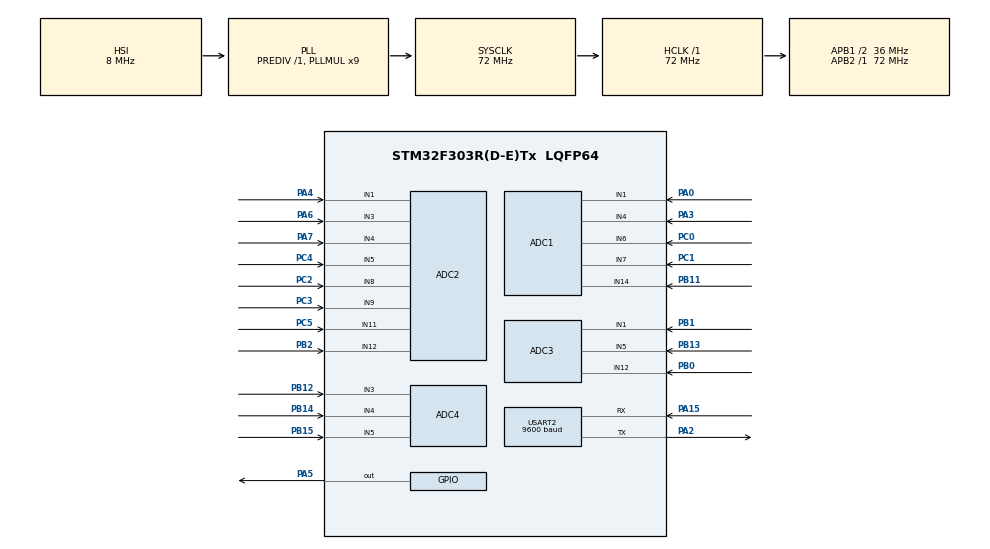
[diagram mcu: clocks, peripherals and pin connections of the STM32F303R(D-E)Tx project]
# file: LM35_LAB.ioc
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ADC1.Channel-14\#ChannelRegularConversion=ADC_CHANNEL_1
ADC1.Channel-15\#ChannelRegularConversion=ADC_CHANNEL_4
ADC1.Channel-16\#ChannelRegularConversion=ADC_CHANNEL_6
ADC1.Channel-17\#ChannelRegularConversion=ADC_CHANNEL_7
ADC1.Channel-18\#ChannelRegularConversion=ADC_CHANNEL_14
ADC1.DiscontinuousConvMode=ENABLE
ADC1.NbrOfConversion=5
ADC1.NbrOfConversionFlag=1
ADC1.Offset-14\#ChannelRegularConversion=0
ADC1.Offset-15\#ChannelRegularConversion=0
ADC1.Offset-16\#ChannelRegularConversion=0
ADC1.Offset-17\#ChannelRegularConversion=0
ADC1.Offset-18\#ChannelRegularConversion=0
ADC1.OffsetNumber-14\#ChannelRegularConversion=ADC_OFFSET_NONE
ADC1.OffsetNumber-15\#ChannelRegularConversion=ADC_OFFSET_NONE
ADC1.OffsetNumber-16\#ChannelRegularConversion=ADC_OFFSET_NONE
ADC1.OffsetNumber-17\#ChannelRegularConversion=ADC_OFFSET_NONE
ADC1.OffsetNumber-18\#ChannelRegularConversion=ADC_OFFSET_NONE
ADC1.Overrun=ADC_OVR_DATA_PRESERVED
ADC1.Rank-14\#ChannelRegularConversion=1
ADC1.Rank-15\#ChannelRegularConversion=2
ADC1.Rank-16\#ChannelRegularConversion=3
ADC1.Rank-17\#ChannelRegularConversion=4
ADC1.Rank-18\#ChannelRegularConversion=5
ADC1.SamplingTime-14\#ChannelRegularConversion=ADC_SAMPLETIME_601CYCLES_5
ADC1.SamplingTime-15\#ChannelRegularConversion=ADC_SAMPLETIME_601CYCLES_5
ADC1.SamplingTime-16\#ChannelRegularConversion=ADC_SAMPLETIME_601CYCLES_5
ADC1.SamplingTime-17\#ChannelRegularConversion=ADC_SAMPLETIME_601CYCLES_5
ADC1.SamplingTime-18\#ChannelRegularConversion=ADC_SAMPLETIME_601CYCLES_5
ADC1.master=1
ADC2.Channel-0\#ChannelRegularConversion=ADC_CHANNEL_3
ADC2.Channel-1\#ChannelRegularConversion=ADC_CHANNEL_4
ADC2.Channel-2\#ChannelRegularConversion=ADC_CHANNEL_5
ADC2.Channel-3\#ChannelRegularConversion=ADC_CHANNEL_8
ADC2.Channel-4\#ChannelRegularConversion=ADC_CHANNEL_9
ADC2.Channel-5\#ChannelRegularConversion=ADC_CHANNEL_11
ADC2.Channel-7\#ChannelRegularConversion=ADC_CHANNEL_12
ADC2.Channel-8\#ChannelRegularConversion=ADC_CHANNEL_1
ADC2.ClockPrescaler=ADC_CLOCK_ASYNC_DIV1
ADC2.ContinuousConvMode=DISABLE
ADC2.DiscontinuousConvMode=ENABLE
ADC2.NbrOfConversion=8
ADC2.NbrOfConversionFlag=1
ADC2.Offset-0\#ChannelRegularConversion=0
ADC2.Offset-1\#ChannelRegularConversion=0
ADC2.Offset-2\#ChannelRegularConversion=0
ADC2.Offset-3\#ChannelRegularConversion=0
ADC2.Offset-4\#ChannelRegularConversion=0
ADC2.Offset-5\#ChannelRegularConversion=0
ADC2.Offset-7\#ChannelRegularConversion=0
ADC2.Offset-8\#ChannelRegularConversion=0
ADC2.OffsetNumber-0\#ChannelRegularConversion=ADC_OFFSET_NONE
ADC2.OffsetNumber-1\#ChannelRegularConversion=ADC_OFFSET_NONE
ADC2.OffsetNumber-2\#ChannelRegularConversion=ADC_OFFSET_NONE
ADC2.OffsetNumber-3\#ChannelRegularConversion=ADC_OFFSET_NONE
ADC2.OffsetNumber-4\#ChannelRegularConversion=ADC_OFFSET_NONE
ADC2.OffsetNumber-5\#ChannelRegularConversion=ADC_OFFSET_NONE
ADC2.OffsetNumber-7\#ChannelRegularConversion=ADC_OFFSET_NONE
ADC2.OffsetNumber-8\#ChannelRegularConversion=ADC_OFFSET_NONE
ADC2.Overrun=ADC_OVR_DATA_PRESERVED
ADC2.Rank-0\#ChannelRegularConversion=1
ADC2.Rank-1\#ChannelRegularConversion=2
ADC2.Rank-2\#ChannelRegularConversion=3
ADC2.Rank-3\#ChannelRegularConversion=4
ADC2.Rank-4\#ChannelRegularConversion=5
ADC2.Rank-5\#ChannelRegularConversion=6
ADC2.Rank-7\#ChannelRegularConversion=7
ADC2.Rank-8\#ChannelRegularConversion=8
ADC2.SamplingTime-0\#ChannelRegularConversion=ADC_SAMPLETIME_601CYCLES_5
ADC2.SamplingTime-1\#ChannelRegularConversion=ADC_SAMPLETIME_601CYCLES_5
ADC2.SamplingTime-2\#ChannelRegularConversion=ADC_SAMPLETIME_601CYCLES_5
ADC2.SamplingTime-3\#ChannelRegularConversion=ADC_SAMPLETIME_601CYCLES_5
ADC2.SamplingTime-4\#ChannelRegularConversion=ADC_SAMPLETIME_601CYCLES_5
ADC2.SamplingTime-5\#ChannelRegularConversion=ADC_SAMPLETIME_601CYCLES_5
ADC2.SamplingTime-7\#ChannelRegularConversion=ADC_SAMPLETIME_601CYCLES_5
ADC2.SamplingTime-8\#ChannelRegularConversion=ADC_SAMPLETIME_601CYCLES_5
ADC2.SamplingTimeOPAMP-8\#ChannelRegularConversion=ADC_SAMPLETIME_61CYCLES_5
ADC3.Channel-0\#ChannelRegularConversion=ADC_CHANNEL_1
ADC3.Channel-1\#ChannelRegularConversion=ADC_CHANNEL_5
ADC3.Channel-2\#ChannelRegularConversion=ADC_CHANNEL_12
ADC3.ContinuousConvMode=DISABLE
ADC3.DiscontinuousConvMode=ENABLE
ADC3.NbrOfConversion=3
ADC3.NbrOfConversionFlag=1
ADC3.Offset-0\#ChannelRegularConversion=0
ADC3.Offset-1\#ChannelRegularConversion=0
ADC3.Offset-2\#ChannelRegularConversion=0
ADC3.OffsetNumber-0\#ChannelRegularConversion=ADC_OFFSET_NONE
ADC3.OffsetNumber-1\#ChannelRegularConversion=ADC_OFFSET_NONE
ADC3.OffsetNumber-2\#ChannelRegularConversion=ADC_OFFSET_NONE
ADC3.Overrun=ADC_OVR_DATA_PRESERVED
ADC3.Rank-0\#ChannelRegularConversion=1
ADC3.Rank-1\#ChannelRegularConversion=2
ADC3.Rank-2\#ChannelRegularConversion=3
ADC3.SamplingTime-0\#ChannelRegularConversion=ADC_SAMPLETIME_601CYCLES_5
ADC3.SamplingTime-1\#ChannelRegularConversion=ADC_SAMPLETIME_601CYCLES_5
ADC3.SamplingTime-2\#ChannelRegularConversion=ADC_SAMPLETIME_601CYCLES_5
ADC3.SamplingTimeOPAMP-1\#ChannelRegularConversion=ADC_SAMPLETIME_61CYCLES_5
ADC3.SamplingTimeOPAMP-2\#ChannelRegularConversion=ADC_SAMPLETIME_61CYCLES_5
ADC3.master=1
ADC4.Channel-0\#ChannelRegularConversion=ADC_CHANNEL_3
ADC4.Channel-1\#ChannelRegularConversion=ADC_CHANNEL_4
ADC4.Channel-2\#ChannelRegularConversion=ADC_CHANNEL_5
ADC4.DiscontinuousConvMode=ENABLE
ADC4.NbrOfConversion=3
ADC4.NbrOfConversionFlag=1
ADC4.Offset-0\#ChannelRegularConversion=0
ADC4.Offset-1\#ChannelRegularConversion=0
ADC4.Offset-2\#ChannelRegularConversion=0
ADC4.OffsetNumber-0\#ChannelRegularConversion=ADC_OFFSET_NONE
ADC4.OffsetNumber-1\#ChannelRegularConversion=ADC_OFFSET_NONE
ADC4.OffsetNumber-2\#ChannelRegularConversion=ADC_OFFSET_NONE
ADC4.Overrun=ADC_OVR_DATA_PRESERVED
ADC4.Rank-0\#ChannelRegularConversion=1
ADC4.Rank-1\#ChannelRegularConversion=2
ADC4.Rank-2\#ChannelRegularConversion=3
ADC4.SamplingTime-0\#ChannelRegularConversion=ADC_SAMPLETIME_601CYCLES_5
ADC4.SamplingTime-1\#ChannelRegularConversion=ADC_SAMPLETIME_601CYCLES_5
ADC4.SamplingTime-2\#ChannelRegularConversion=ADC_SAMPLETIME_601CYCLES_5
ADC4.SamplingTimeOPAMP-1\#ChannelRegularConversion=ADC_SAMPLETIME_61CYCLES_5
ADC4.SamplingTimeOPAMP-2\#ChannelRegularConversion=ADC_SAMPLETIME_61CYCLES_5
Mcu.Family=STM32F3
Mcu.Name=STM32F303R(D-E)Tx
Mcu.Package=LQFP64
NVIC.PriorityGroup=NVIC_PRIORITYGROUP_4
PA0.Mode=IN1-Single-Ended
PA0.Signal=ADC1_IN1
PA13.Mode=Trace_Asynchronous_SW
PA13.Signal=SYS_JTMS-SWDIO
PA14.Mode=Trace_Asynchronous_SW
PA14.Signal=SYS_JTCK-SWCLK
PA15.Mode=Asynchronous
PA15.Signal=USART2_RX
PA2.Mode=Asynchronous
PA2.Signal=USART2_TX
PA3.Mode=IN4-Single-Ended
PA3.Signal=ADC1_IN4
PA4.Mode=IN1-Single-Ended
PA4.Signal=ADC2_IN1
PA5.Signal=GPIO_Output
PA6.Mode=IN3-Single-Ended
PA6.Signal=ADC2_IN3
PA7.Mode=IN4-Single-Ended
PA7.Signal=ADC2_IN4
PB0.Mode=IN12-Single-Ended
PB0.Signal=ADC3_IN12
PB1.Mode=IN1-Single-Ended
PB1.Signal=ADC3_IN1
PB11.Mode=IN14-Single-Ended
PB11.Signal=ADC1_IN14
PB12.Mode=IN3-Single-Ended
PB12.Signal=ADC4_IN3
PB13.Mode=IN5-Single-Ended
PB13.Signal=ADC3_IN5
PB14.Mode=IN4-Single-Ended
PB14.Signal=ADC4_IN4
PB15.Mode=IN5-Single-Ended
PB15.Signal=ADC4_IN5
PB2.Mode=IN12-Single-Ended
PB2.Signal=ADC2_IN12
PB3.Mode=Trace_Asynchronous_SW
PB3.Signal=SYS_JTDO-TRACESWO
PC0.Signal=ADCx_IN6
PC1.Signal=ADCx_IN7
PC2.Signal=ADCx_IN8
PC3.Signal=ADCx_IN9
PC4.Mode=IN5-Single-Ended
PC4.Signal=ADC2_IN5
PC5.Mode=IN11-Single-Ended
PC5.Signal=ADC2_IN11
PF0-OSC_IN.Mode=HSE-External-Oscillator
PF0-OSC_IN.Signal=RCC_OSC_IN
PF1-OSC_OUT.Mode=HSE-External-Oscillator
PF1-OSC_OUT.Signal=RCC_OSC_OUT
ProjectManager.HeapSize=0x200
ProjectManager.StackSize=0x400
ProjectManager.TargetToolchain=STM32CubeIDE
RCC.AHBFreq_Value=72000000
RCC.APB1CLKDivider=RCC_HCLK_DIV2
RCC.APB1Freq_Value=36000000
RCC.APB1TimFreq_Value=72000000
RCC.APB2Freq_Value=72000000
RCC.APB2TimFreq_Value=72000000
RCC.CortexFreq_Value=72000000
RCC.HCLKFreq_Value=72000000
RCC.HSE_VALUE=8000000
RCC.HSI_VALUE=8000000
RCC.LSE_VALUE=32768
RCC.PLLMUL=RCC_PLL_MUL9
RCC.SYSCLKFreq_VALUE=72000000
RCC.SYSCLKSourceVirtual=RCC_SYSCLKSOURCE_PLLCLK
RCC.USBFreq_Value=72000000
SH.ADCx_IN6.0=ADC1_IN6,IN6-Single-Ended
SH.ADCx_IN7.0=ADC1_IN7,IN7-Single-Ended
SH.ADCx_IN8.0=ADC2_IN8,IN8-Single-Ended
SH.ADCx_IN9.0=ADC2_IN9,IN9-Single-Ended
USART2.BaudRate=9600
USART2.VirtualMode-Asynchronous=VM_ASYNC
board=custom

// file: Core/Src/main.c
/* USER CODE BEGIN Header */
/**
  ******************************************************************************
  * @file           : main.c
  * @brief          : Main program body
  ******************************************************************************
  * @attention
  *
  * Copyright (c) 2025 STMicroelectronics.
  * All rights reserved.
  *
  * This software is licensed under terms that can be found in the LICENSE file
  * in the root directory of this software component.
  * If no LICENSE file comes with this software, it is provided AS-IS.
  *
  * The ADC interfaces are connected to pins on the STM32 board using different
  * wire colors as follows:
  *
  * ADC 1 ==> Red (5 wires)
  * ADC 2 ==> White (8 wires)
  * ADC 3 ==> Yellow (3 wires)
  * ADC 4 ==> Green (3 wires)
  *
  ******************************************************************************
  */
/* USER CODE END Header */
#include "main.h"

/* USER CODE BEGIN Includes */
#include <stdio.h>
/* USER CODE END Includes */

ADC_HandleTypeDef hadc1;
ADC_HandleTypeDef hadc2;
ADC_HandleTypeDef hadc3;
ADC_HandleTypeDef hadc4;

UART_HandleTypeDef huart2;

/* USER CODE BEGIN PV */

float temp_1;
float temp_2;
float temp_3;
float temp_4;
float temp_5;
float temp_6;
float temp_7;
float temp_8;
float temp_9;
float temp_10;
float temp_11;
float temp_12;
float temp_13;
float temp_14;
float temp_15;
float temp_16;
float temp_17;
float temp_18;
float temp_19;
float temp_20;
float humidity;
float tension;
float temp_RAYA;
float mean_1;
float mean_2;
float mean_3;

float mean;

/* USER CODE END PV */

void SystemClock_Config(void);
static void MX_GPIO_Init(void);
static void MX_ADC1_Init(void);
static void MX_USART2_UART_Init(void);
static void MX_ADC2_Init(void);
static void MX_ADC3_Init(void);
static void MX_ADC4_Init(void);
/* USER CODE BEGIN PFP */

#define PRINTF2UART2 int __io_putchar(int ch)
/* USER CODE END PFP */

int main(void)
{

  /* USER CODE BEGIN 1 */
	uint16_t ADC1_VAL[4];
	uint16_t ADC2_VAL[7];
	uint16_t ADC3_VAL[2];
	uint16_t ADC4_VAL[2];
  /* USER CODE END 1 */

  /* MCU Configuration--------------------------------------------------------*/

  /* Reset of all peripherals, Initializes the Flash interface and the Systick. */
  HAL_Init();

  /* Configure the system clock */
  SystemClock_Config();

  /* Initialize all configured peripherals */
  MX_GPIO_Init();
  MX_ADC1_Init();
  MX_USART2_UART_Init();
  MX_ADC2_Init();
  MX_ADC3_Init();
  MX_ADC4_Init();
  /* USER CODE BEGIN 2 */
  HAL_ADC_Start_IT(&hadc1);
  HAL_ADC_Start_IT(&hadc2);
  HAL_ADC_Start_IT(&hadc3);
  HAL_ADC_Start_IT(&hadc4);

  /* USER CODE END 2 */

  /* Infinite loop */
  /* USER CODE BEGIN WHILE */
  while (1)
  {

	  HAL_UART_Transmit(&huart2, (uint8_t *)"START Reading Temperature data >> \r\n", 12, HAL_MAX_DELAY);
	  HAL_Delay(1000);  // 1-second delay

	  //*******************  ADC 1 ******************************************
	  HAL_ADC_Start_IT(&hadc1);
	  HAL_ADC_PollForConversion(&hadc1, 100);
	  ADC1_VAL[0] = HAL_ADC_GetValue(&hadc1);
	  temp_1 = ADC1_VAL[0] * 0.08;
	  printf("Temperature 1 = %.2f°C\n\r", temp_1);

	  HAL_ADC_Start_IT(&hadc1);
	  HAL_ADC_PollForConversion(&hadc1, 100);
	  ADC1_VAL[1] = HAL_ADC_GetValue(&hadc1);
	  temp_2 = ADC1_VAL[1] * 0.08;
	  printf("Temperature 2 = %.2f°C\n\r", temp_2);

	  HAL_ADC_Start_IT(&hadc1);
	  HAL_ADC_PollForConversion(&hadc1, 100);
	  ADC1_VAL[2] = HAL_ADC_GetValue(&hadc1);
	  temp_3 = ADC1_VAL[2] * 0.08;
	  printf("Temperature 3 = %.2f°C\n\r", temp_3);

	  HAL_ADC_Start_IT(&hadc1);
	  HAL_ADC_PollForConversion(&hadc1, 100);
	  ADC1_VAL[3] = HAL_ADC_GetValue(&hadc1);
	  temp_4 = ADC1_VAL[3] * 0.08;
	  printf("Temperature 4 = %.2f°C\n\r", temp_4);

	  HAL_ADC_Start_IT(&hadc1);
	  HAL_ADC_PollForConversion(&hadc1, 100);
	  ADC1_VAL[4] = HAL_ADC_GetValue(&hadc1);
	  temp_5 = ADC1_VAL[4] * 0.08;
	  printf("Temperature 5 = %.2f°C\n\r", temp_5);

	  //*******************  ADC 2 ******************************************
	  HAL_ADC_Start_IT(&hadc2);
	  HAL_ADC_PollForConversion(&hadc2, 100);
	  ADC2_VAL[0] = HAL_ADC_GetValue(&hadc2);
	  temp_8 = ADC2_VAL[0] * 0.08;
	  printf("Temperature 8 = %.2f°C\n\r", temp_8);

	  HAL_ADC_Start_IT(&hadc2);
	  HAL_ADC_PollForConversion(&hadc2, 100);
	  ADC2_VAL[1] = HAL_ADC_GetValue(&hadc2);
	  temp_9 = ADC2_VAL[1] * 0.08;
	  printf("Temperature 9 = %.2f°C\n\r", temp_9);

	  HAL_ADC_Start_IT(&hadc2);
	  HAL_ADC_PollForConversion(&hadc2, 100);
	  ADC2_VAL[2] = HAL_ADC_GetValue(&hadc2);
	  temp_10 = ADC2_VAL[2] * 0.08;
	  printf("Temperature 10 = %.2f°C\n\r", temp_10);

	  HAL_ADC_Start_IT(&hadc2);
	  HAL_ADC_PollForConversion(&hadc2, 100);
	  ADC2_VAL[3] = HAL_ADC_GetValue(&hadc2);
	  temp_11 = ADC2_VAL[3] * 0.08;
	  printf("Temperature 11 = %.2f°C\n\r", temp_11);

	  HAL_ADC_Start_IT(&hadc2);
	  HAL_ADC_PollForConversion(&hadc2, 100);
	  ADC2_VAL[4] = HAL_ADC_GetValue(&hadc2);
	  temp_12 = ADC2_VAL[4] * 0.08;
	  printf("Temperature 12 = %.2f°C\n\r", temp_12);

	  HAL_ADC_Start_IT(&hadc2);
	  HAL_ADC_PollForConversion(&hadc2, 100);
	  ADC2_VAL[5] = HAL_ADC_GetValue(&hadc2);
	  temp_13 = ADC2_VAL[5] * 0.08;
	  printf("Temperature 13 = %.2f°C\n\r", temp_13);
/*
 * This is commented because the humidity sensor was damaged
 *
	  HAL_ADC_Start_IT(&hadc2);
	  HAL_ADC_PollForConversion(&hadc2, 100);
	  ADC2_VAL[6] = HAL_ADC_GetValue(&hadc2);
	  tension = ADC2_VAL[6] * (3.3/4096);
	  humidity = (-1)*(tension - 0.830)/0.030;
	  printf("Humidity = %.2f°C\n\r", humidity);
*/

	  HAL_ADC_Start_IT(&hadc2);
	  HAL_ADC_PollForConversion(&hadc2, 100);
	  ADC2_VAL[7] = HAL_ADC_GetValue(&hadc2);
	  temp_14 = ADC2_VAL[7] * 0.08;
	  printf("Temperature 14 = %.2f°C\n\r", temp_14);

	  HAL_ADC_Start_IT(&hadc2);
	  HAL_ADC_PollForConversion(&hadc2, 100);
	  ADC2_VAL[6]  = HAL_ADC_GetValue(&hadc2);
	  temp_RAYA = ADC2_VAL[6]  * 0.08;
	  printf("Temperature 13 = %.2f°C\n\r", temp_RAYA);

	  //*******************  ADC 3 ******************************************
	  HAL_ADC_Start_IT(&hadc3);
	  HAL_ADC_PollForConversion(&hadc3, 100);
	  ADC3_VAL[0] = HAL_ADC_GetValue(&hadc3);
	  temp_15 = ADC3_VAL[0] * 0.08;
	  printf("Temperature 15 = %.2f°C\n\r", temp_15);

	  HAL_ADC_Start_IT(&hadc3);
	  HAL_ADC_PollForConversion(&hadc3, 100);
	  ADC3_VAL[1] = HAL_ADC_GetValue(&hadc3);
	  temp_16 = ADC3_VAL[1] * 0.08;
	  printf("Temperature 16 = %.2f°C\n\r", temp_16);

	  HAL_ADC_Start_IT(&hadc3);
	  HAL_ADC_PollForConversion(&hadc3, 100);
	  ADC3_VAL[2] = HAL_ADC_GetValue(&hadc3);
	  temp_17 = ADC3_VAL[2] * 0.08;
	  printf("Temperature 17 = %.2f°C\n\r", temp_17);

	  //*******************  ADC 4 ******************************************
	  HAL_ADC_Start_IT(&hadc4);
	  HAL_ADC_PollForConversion(&hadc4, 100);
	  ADC4_VAL[0] = HAL_ADC_GetValue(&hadc4);
	  temp_18 = ADC4_VAL[0] * 0.08;
	  printf("Temperature 18 = %.2f°C\n\r", temp_18);

	  HAL_ADC_Start_IT(&hadc4);
	  HAL_ADC_PollForConversion(&hadc4, 100);
	  ADC4_VAL[1] = HAL_ADC_GetValue(&hadc4);
	  temp_19 = ADC4_VAL[1] * 0.08;
	  printf("Temperature 19 = %.2f°C\n\r", temp_19);

	  HAL_ADC_Start_IT(&hadc4);
	  HAL_ADC_PollForConversion(&hadc4, 100);
	  ADC4_VAL[2] = HAL_ADC_GetValue(&hadc4);
	  temp_20 = ADC4_VAL[2] * 0.08;
	  printf("Temperature 20 = %.2f°C\n\r", temp_20);

	  //*******************  Calculating the mean ******************************************
	  mean = (temp_2+temp_3+temp_4+temp_5+temp_9+temp_12+temp_13+temp_16+temp_17+temp_19+temp_20+temp_RAYA)/12.0;

	  mean_1 = (temp_2+temp_3+temp_4+temp_5+temp_17)/4.0;

	  mean_2 = (temp_9+temp_19+temp_20)/4.0;

	  mean_3 = (temp_12+temp_13+temp_16+temp_RAYA)/5.0;

    /* USER CODE END WHILE */

  }
}

void SystemClock_Config(void)
{
  RCC_OscInitTypeDef RCC_OscInitStruct = {0};
  RCC_ClkInitTypeDef RCC_ClkInitStruct = {0};
  RCC_PeriphCLKInitTypeDef PeriphClkInit = {0};

  /** Initializes the RCC Oscillators according to the specified parameters
  * in the RCC_OscInitTypeDef structure.
  */
  RCC_OscInitStruct.OscillatorType = RCC_OSCILLATORTYPE_HSI;
  RCC_OscInitStruct.HSIState = RCC_HSI_ON;
  RCC_OscInitStruct.HSICalibrationValue = RCC_HSICALIBRATION_DEFAULT;
  RCC_OscInitStruct.PLL.PLLState = RCC_PLL_ON;
  RCC_OscInitStruct.PLL.PLLSource = RCC_PLLSOURCE_HSI;
  RCC_OscInitStruct.PLL.PLLMUL = RCC_PLL_MUL9;
  RCC_OscInitStruct.PLL.PREDIV = RCC_PREDIV_DIV1;
  if (HAL_RCC_OscConfig(&RCC_OscInitStruct) != HAL_OK)
  {
    Error_Handler();
  }

  /** Initializes the CPU, AHB and APB buses clocks
  */
  RCC_ClkInitStruct.ClockType = RCC_CLOCKTYPE_HCLK|RCC_CLOCKTYPE_SYSCLK
                              |RCC_CLOCKTYPE_PCLK1|RCC_CLOCKTYPE_PCLK2;
  RCC_ClkInitStruct.SYSCLKSource = RCC_SYSCLKSOURCE_PLLCLK;
  RCC_ClkInitStruct.AHBCLKDivider = RCC_SYSCLK_DIV1;
  RCC_ClkInitStruct.APB1CLKDivider = RCC_HCLK_DIV2;
  RCC_ClkInitStruct.APB2CLKDivider = RCC_HCLK_DIV1;

  if (HAL_RCC_ClockConfig(&RCC_ClkInitStruct, FLASH_LATENCY_2) != HAL_OK)
  {
    Error_Handler();
  }
  PeriphClkInit.PeriphClockSelection = RCC_PERIPHCLK_USART2|RCC_PERIPHCLK_ADC12
                              |RCC_PERIPHCLK_ADC34;
  PeriphClkInit.Usart2ClockSelection = RCC_USART2CLKSOURCE_PCLK1;
  PeriphClkInit.Adc12ClockSelection = RCC_ADC12PLLCLK_DIV1;
  PeriphClkInit.Adc34ClockSelection = RCC_ADC34PLLCLK_DIV1;
  if (HAL_RCCEx_PeriphCLKConfig(&PeriphClkInit) != HAL_OK)
  {
    Error_Handler();
  }
}

static void MX_ADC1_Init(void)
{

  ADC_MultiModeTypeDef multimode = {0};
  ADC_ChannelConfTypeDef sConfig = {0};

  /** Common config
  */
  hadc1.Instance = ADC1;
  hadc1.Init.ClockPrescaler = ADC_CLOCK_ASYNC_DIV1;
  hadc1.Init.Resolution = ADC_RESOLUTION_12B;
  hadc1.Init.ScanConvMode = ADC_SCAN_ENABLE;
  hadc1.Init.ContinuousConvMode = DISABLE;
  hadc1.Init.DiscontinuousConvMode = ENABLE;
  hadc1.Init.NbrOfDiscConversion = 1;
  hadc1.Init.ExternalTrigConvEdge = ADC_EXTERNALTRIGCONVEDGE_NONE;
  hadc1.Init.ExternalTrigConv = ADC_SOFTWARE_START;
  hadc1.Init.DataAlign = ADC_DATAALIGN_RIGHT;
  hadc1.Init.NbrOfConversion = 5;
  hadc1.Init.DMAContinuousRequests = DISABLE;
  hadc1.Init.EOCSelection = ADC_EOC_SINGLE_CONV;
  hadc1.Init.LowPowerAutoWait = DISABLE;
  hadc1.Init.Overrun = ADC_OVR_DATA_PRESERVED;
  if (HAL_ADC_Init(&hadc1) != HAL_OK)
  {
    Error_Handler();
  }

  /** Configure the ADC multi-mode
  */
  multimode.Mode = ADC_MODE_INDEPENDENT;
  if (HAL_ADCEx_MultiModeConfigChannel(&hadc1, &multimode) != HAL_OK)
  {
    Error_Handler();
  }

  /** Configure Regular Channel
  */
  sConfig.Channel = ADC_CHANNEL_1;
  sConfig.Rank = ADC_REGULAR_RANK_1;
  sConfig.SingleDiff = ADC_SINGLE_ENDED;
  sConfig.SamplingTime = ADC_SAMPLETIME_601CYCLES_5;
  sConfig.OffsetNumber = ADC_OFFSET_NONE;
  sConfig.Offset = 0;
  if (HAL_ADC_ConfigChannel(&hadc1, &sConfig) != HAL_OK)
  {
    Error_Handler();
  }

  /** Configure Regular Channel
  */
  sConfig.Channel = ADC_CHANNEL_4;
  sConfig.Rank = ADC_REGULAR_RANK_2;
  if (HAL_ADC_ConfigChannel(&hadc1, &sConfig) != HAL_OK)
  {
    Error_Handler();
  }

  /** Configure Regular Channel
  */
  sConfig.Channel = ADC_CHANNEL_6;
  sConfig.Rank = ADC_REGULAR_RANK_3;
  if (HAL_ADC_ConfigChannel(&hadc1, &sConfig) != HAL_OK)
  {
    Error_Handler();
  }

  /** Configure Regular Channel
  */
  sConfig.Channel = ADC_CHANNEL_7;
  sConfig.Rank = ADC_REGULAR_RANK_4;
  if (HAL_ADC_ConfigChannel(&hadc1, &sConfig) != HAL_OK)
  {
    Error_Handler();
  }

  /** Configure Regular Channel
  */
  sConfig.Channel = ADC_CHANNEL_14;
  sConfig.Rank = ADC_REGULAR_RANK_5;
  if (HAL_ADC_ConfigChannel(&hadc1, &sConfig) != HAL_OK)
  {
    Error_Handler();
  }

}

static void MX_ADC2_Init(void)
{

  ADC_ChannelConfTypeDef sConfig = {0};

  /** Common config
  */
  hadc2.Instance = ADC2;
  hadc2.Init.ClockPrescaler = ADC_CLOCK_ASYNC_DIV1;
  hadc2.Init.Resolution = ADC_RESOLUTION_12B;
  hadc2.Init.ScanConvMode = ADC_SCAN_ENABLE;
  hadc2.Init.ContinuousConvMode = DISABLE;
  hadc2.Init.DiscontinuousConvMode = ENABLE;
  hadc2.Init.NbrOfDiscConversion = 1;
  hadc2.Init.ExternalTrigConvEdge = ADC_EXTERNALTRIGCONVEDGE_NONE;
  hadc2.Init.ExternalTrigConv = ADC_SOFTWARE_START;
  hadc2.Init.DataAlign = ADC_DATAALIGN_RIGHT;
  hadc2.Init.NbrOfConversion = 8;
  hadc2.Init.DMAContinuousRequests = DISABLE;
  hadc2.Init.EOCSelection = ADC_EOC_SINGLE_CONV;
  hadc2.Init.LowPowerAutoWait = DISABLE;
  hadc2.Init.Overrun = ADC_OVR_DATA_PRESERVED;
  if (HAL_ADC_Init(&hadc2) != HAL_OK)
  {
    Error_Handler();
  }

  /** Configure Regular Channel
  */
  sConfig.Channel = ADC_CHANNEL_3;
  sConfig.Rank = ADC_REGULAR_RANK_1;
  sConfig.SingleDiff = ADC_SINGLE_ENDED;
  sConfig.SamplingTime = ADC_SAMPLETIME_601CYCLES_5;
  sConfig.OffsetNumber = ADC_OFFSET_NONE;
  sConfig.Offset = 0;
  if (HAL_ADC_ConfigChannel(&hadc2, &sConfig) != HAL_OK)
  {
    Error_Handler();
  }

  /** Configure Regular Channel
  */
  sConfig.Channel = ADC_CHANNEL_4;
  sConfig.Rank = ADC_REGULAR_RANK_2;
  if (HAL_ADC_ConfigChannel(&hadc2, &sConfig) != HAL_OK)
  {
    Error_Handler();
  }

  /** Configure Regular Channel
  */
  sConfig.Channel = ADC_CHANNEL_5;
  sConfig.Rank = ADC_REGULAR_RANK_3;
  if (HAL_ADC_ConfigChannel(&hadc2, &sConfig) != HAL_OK)
  {
    Error_Handler();
  }

  /** Configure Regular Channel
  */
  sConfig.Channel = ADC_CHANNEL_8;
  sConfig.Rank = ADC_REGULAR_RANK_4;
  if (HAL_ADC_ConfigChannel(&hadc2, &sConfig) != HAL_OK)
  {
    Error_Handler();
  }

  /** Configure Regular Channel
  */
  sConfig.Channel = ADC_CHANNEL_9;
  sConfig.Rank = ADC_REGULAR_RANK_5;
  if (HAL_ADC_ConfigChannel(&hadc2, &sConfig) != HAL_OK)
  {
    Error_Handler();
  }

  /** Configure Regular Channel
  */
  sConfig.Channel = ADC_CHANNEL_11;
  sConfig.Rank = ADC_REGULAR_RANK_6;
  if (HAL_ADC_ConfigChannel(&hadc2, &sConfig) != HAL_OK)
  {
    Error_Handler();
  }

  /** Configure Regular Channel
  */
  sConfig.Channel = ADC_CHANNEL_12;
  sConfig.Rank = ADC_REGULAR_RANK_7;
  if (HAL_ADC_ConfigChannel(&hadc2, &sConfig) != HAL_OK)
  {
    Error_Handler();
  }

  /** Configure Regular Channel
  */
  sConfig.Channel = ADC_CHANNEL_1;
  sConfig.Rank = ADC_REGULAR_RANK_8;
  if (HAL_ADC_ConfigChannel(&hadc2, &sConfig) != HAL_OK)
  {
    Error_Handler();
  }

}

static void MX_ADC3_Init(void)
{

  ADC_MultiModeTypeDef multimode = {0};
  ADC_ChannelConfTypeDef sConfig = {0};

  /** Common config
  */
  hadc3.Instance = ADC3;
  hadc3.Init.ClockPrescaler = ADC_CLOCK_ASYNC_DIV1;
  hadc3.Init.Resolution = ADC_RESOLUTION_12B;
  hadc3.Init.ScanConvMode = ADC_SCAN_ENABLE;
  hadc3.Init.ContinuousConvMode = DISABLE;
  hadc3.Init.DiscontinuousConvMode = ENABLE;
  hadc3.Init.NbrOfDiscConversion = 1;
  hadc3.Init.ExternalTrigConvEdge = ADC_EXTERNALTRIGCONVEDGE_NONE;
  hadc3.Init.ExternalTrigConv = ADC_SOFTWARE_START;
  hadc3.Init.DataAlign = ADC_DATAALIGN_RIGHT;
  hadc3.Init.NbrOfConversion = 3;
  hadc3.Init.DMAContinuousRequests = DISABLE;
  hadc3.Init.EOCSelection = ADC_EOC_SINGLE_CONV;
  hadc3.Init.LowPowerAutoWait = DISABLE;
  hadc3.Init.Overrun = ADC_OVR_DATA_PRESERVED;
  if (HAL_ADC_Init(&hadc3) != HAL_OK)
  {
    Error_Handler();
  }

  /** Configure the ADC multi-mode
  */
  multimode.Mode = ADC_MODE_INDEPENDENT;
  if (HAL_ADCEx_MultiModeConfigChannel(&hadc3, &multimode) != HAL_OK)
  {
    Error_Handler();
  }

  /** Configure Regular Channel
  */
  sConfig.Channel = ADC_CHANNEL_1;
  sConfig.Rank = ADC_REGULAR_RANK_1;
  sConfig.SingleDiff = ADC_SINGLE_ENDED;
  sConfig.SamplingTime = ADC_SAMPLETIME_601CYCLES_5;
  sConfig.OffsetNumber = ADC_OFFSET_NONE;
  sConfig.Offset = 0;
  if (HAL_ADC_ConfigChannel(&hadc3, &sConfig) != HAL_OK)
  {
    Error_Handler();
  }

  /** Configure Regular Channel
  */
  sConfig.Channel = ADC_CHANNEL_5;
  sConfig.Rank = ADC_REGULAR_RANK_2;
  if (HAL_ADC_ConfigChannel(&hadc3, &sConfig) != HAL_OK)
  {
    Error_Handler();
  }

  /** Configure Regular Channel
  */
  sConfig.Channel = ADC_CHANNEL_12;
  sConfig.Rank = ADC_REGULAR_RANK_3;
  if (HAL_ADC_ConfigChannel(&hadc3, &sConfig) != HAL_OK)
  {
    Error_Handler();
  }

}

static void MX_ADC4_Init(void)
{

  ADC_ChannelConfTypeDef sConfig = {0};

  /** Common config
  */
  hadc4.Instance = ADC4;
  hadc4.Init.ClockPrescaler = ADC_CLOCK_ASYNC_DIV1;
  hadc4.Init.Resolution = ADC_RESOLUTION_12B;
  hadc4.Init.ScanConvMode = ADC_SCAN_ENABLE;
  hadc4.Init.ContinuousConvMode = DISABLE;
  hadc4.Init.DiscontinuousConvMode = ENABLE;
  hadc4.Init.NbrOfDiscConversion = 1;
  hadc4.Init.ExternalTrigConvEdge = ADC_EXTERNALTRIGCONVEDGE_NONE;
  hadc4.Init.ExternalTrigConv = ADC_SOFTWARE_START;
  hadc4.Init.DataAlign = ADC_DATAALIGN_RIGHT;
  hadc4.Init.NbrOfConversion = 3;
  hadc4.Init.DMAContinuousRequests = DISABLE;
  hadc4.Init.EOCSelection = ADC_EOC_SINGLE_CONV;
  hadc4.Init.LowPowerAutoWait = DISABLE;
  hadc4.Init.Overrun = ADC_OVR_DATA_PRESERVED;
  if (HAL_ADC_Init(&hadc4) != HAL_OK)
  {
    Error_Handler();
  }

  /** Configure Regular Channel
  */
  sConfig.Channel = ADC_CHANNEL_3;
  sConfig.Rank = ADC_REGULAR_RANK_1;
  sConfig.SingleDiff = ADC_SINGLE_ENDED;
  sConfig.SamplingTime = ADC_SAMPLETIME_601CYCLES_5;
  sConfig.OffsetNumber = ADC_OFFSET_NONE;
  sConfig.Offset = 0;
  if (HAL_ADC_ConfigChannel(&hadc4, &sConfig) != HAL_OK)
  {
    Error_Handler();
  }

  /** Configure Regular Channel
  */
  sConfig.Channel = ADC_CHANNEL_4;
  sConfig.Rank = ADC_REGULAR_RANK_2;
  if (HAL_ADC_ConfigChannel(&hadc4, &sConfig) != HAL_OK)
  {
    Error_Handler();
  }

  /** Configure Regular Channel
  */
  sConfig.Channel = ADC_CHANNEL_5;
  sConfig.Rank = ADC_REGULAR_RANK_3;
  if (HAL_ADC_ConfigChannel(&hadc4, &sConfig) != HAL_OK)
  {
    Error_Handler();
  }

}

static void MX_USART2_UART_Init(void)
{

  huart2.Instance = USART2;
  huart2.Init.BaudRate = 9600;
  huart2.Init.WordLength = UART_WORDLENGTH_8B;
  huart2.Init.StopBits = UART_STOPBITS_1;
  huart2.Init.Parity = UART_PARITY_NONE;
  huart2.Init.Mode = UART_MODE_TX_RX;
  huart2.Init.HwFlowCtl = UART_HWCONTROL_NONE;
  huart2.Init.OverSampling = UART_OVERSAMPLING_16;
  huart2.Init.OneBitSampling = UART_ONE_BIT_SAMPLE_DISABLE;
  huart2.AdvancedInit.AdvFeatureInit = UART_ADVFEATURE_NO_INIT;
  if (HAL_UART_Init(&huart2) != HAL_OK)
  {
    Error_Handler();
  }

}

static void MX_GPIO_Init(void)
{
  GPIO_InitTypeDef GPIO_InitStruct = {0};

  /* GPIO Ports Clock Enable */
  __HAL_RCC_GPIOF_CLK_ENABLE();
  __HAL_RCC_GPIOC_CLK_ENABLE();
  __HAL_RCC_GPIOA_CLK_ENABLE();
  __HAL_RCC_GPIOB_CLK_ENABLE();

  /*Configure GPIO pin Output Level */
  HAL_GPIO_WritePin(GPIOA, GPIO_PIN_5, GPIO_PIN_RESET);

  /*Configure GPIO pin : PA5 */
  GPIO_InitStruct.Pin = GPIO_PIN_5;
  GPIO_InitStruct.Mode = GPIO_MODE_OUTPUT_PP;
  GPIO_InitStruct.Pull = GPIO_NOPULL;
  GPIO_InitStruct.Speed = GPIO_SPEED_FREQ_LOW;
  HAL_GPIO_Init(GPIOA, &GPIO_InitStruct);

}

/* USER CODE BEGIN 4 */
PRINTF2UART2
{
  HAL_UART_Transmit(&huart2, (uint8_t *)&ch, 1, 0xFFFF);

  return ch;
}
/* USER CODE END 4 */

void Error_Handler(void)
{
  __disable_irq();
  while (1)
  {
  }
}
